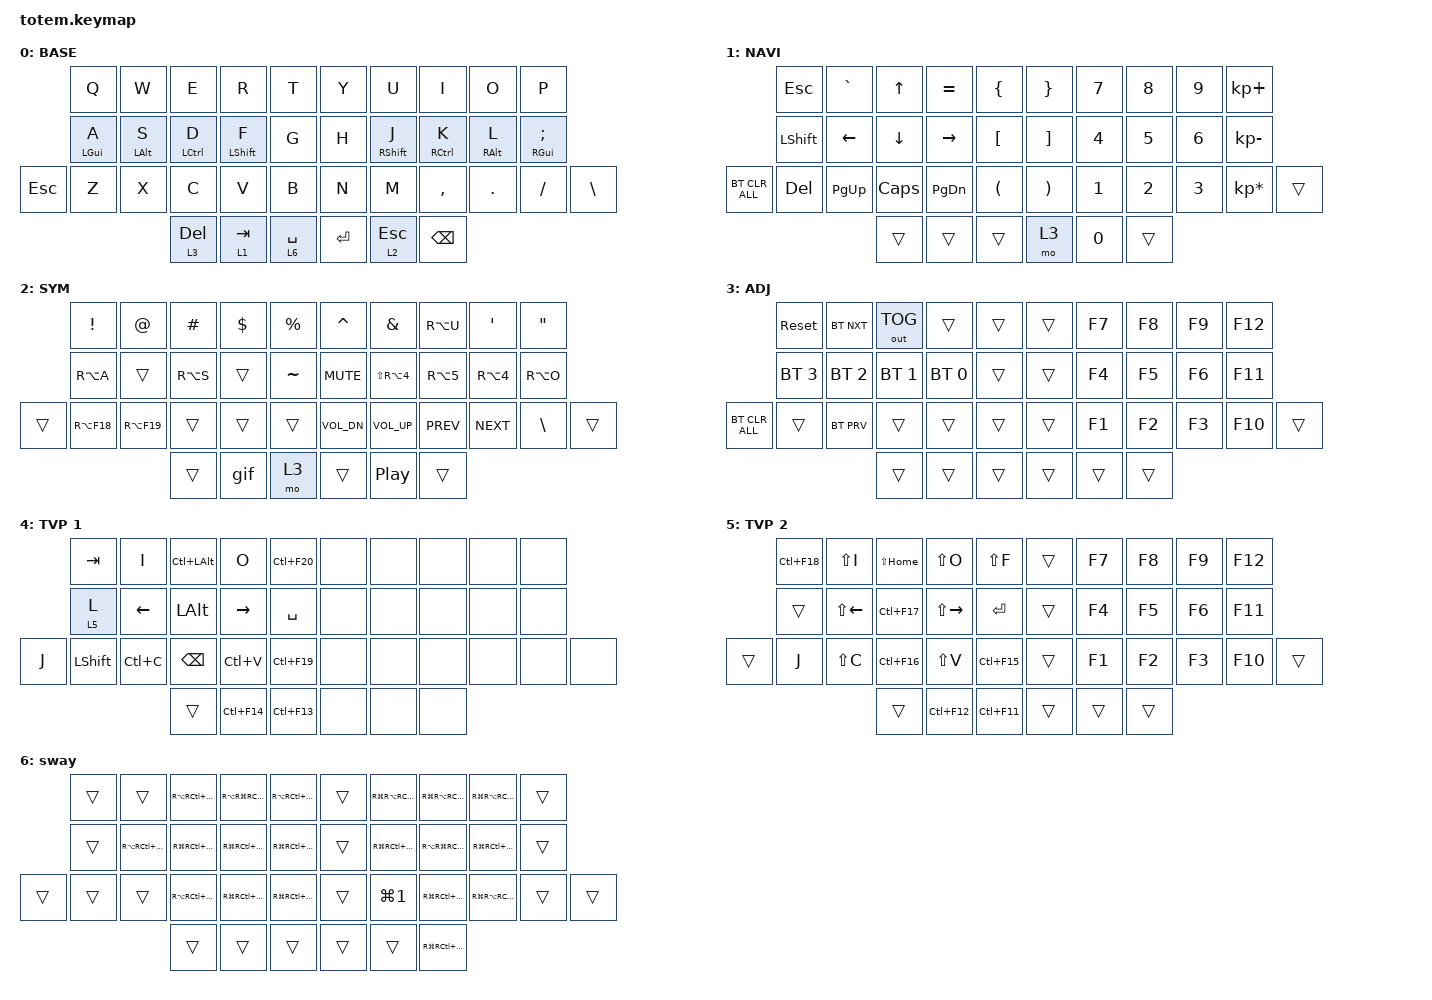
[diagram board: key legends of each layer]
//
//                                                        ▀▀▀▀▀     ▀▀▀▀▀          ▀▀█▀▀
//                                                        ▄▀▀▀▄  ▄  ▄▀▀▀▄  ▄  ▄▀▀▀▄  █  ▄▀▀▀▄
//                                                        █   █  █  █   █  █  █   █  █  █   █
//                                                         ▀▀▀   █   ▀▀▀   █   ▀▀▀   ▀   ▀▀▀
//                                                               █      ▄▄▄█▄▄▄    █   █  
//                                                               ▀      █  █  █     █▄█
//                                                             ▀▀▀▀▀    █  █  █      ▀
//                                                                      ▀  ▀  ▀
//
// ▄▄▄▄▄▄▄▄▄▄▄▄▄▄▄▄▄▄▄▄▄▄▄▄▄▄▄▄▄▄▄▄▄▄▄▄▄▄▄▄▄▄▄▄▄▄▄▄▄▄▄▄▄▄▄▄▄▄▄▄▄▄▄▄▄▄▄▄▄▄▄▄▄▄▄▄▄▄▄▄▄▄▄▄▄▄▄▄▄▄▄▄▄▄▄▄▄▄▄▄▄▄▄▄▄▄▄▄▄▄▄▄▄▄▄▄▄▄▄▄▄▄▄▄▄▄▄▄▄▄▄▄▄▄▄▄▄▄▄▄▄▄▄▄▄▄▄▄▄

#include <behaviors.dtsi>
#include <dt-bindings/zmk/bt.h>
#include <dt-bindings/zmk/keys.h>
#include <dt-bindings/zmk/outputs.h>

#define BASE 0
#define NAV  1
#define SYM  2
#define ADJ  3
#define TVP1 4
#define TVP2 5

&mt {
    quick-tap-ms = <100>;
    global-quick-tap;
    flavor = "tap-preferred";
    tapping-term-ms = <200>;
};

/ {
    combos {
        compatible = "zmk,combos";

        combo_esc {
            timeout-ms = <50>;
            key-positions = <0 1>;
            bindings = <&kp ESC>;
        };

        combo_tvp {
            timeout-ms = <100>;
            key-positions = <11 12 13>;
            bindings = <&tog 4>;
        };
    };

    macros {
        gif: gif {
            label = "giphy";
            compatible = "zmk,behavior-macro";
            #binding-cells = <0>;
            bindings =
                <&macro_press>,
                <&kp LSHFT>,
                <&macro_tap>,
                <&kp N2>,
                <&macro_release>,
                <&kp LSHFT>,
                <&macro_tap>,
                <&kp G &kp I &kp F>;
        };
    };

    keymap {
        compatible = "zmk,keymap";

        // ▄▄▄▄▄▄▄▄▄▄▄▄▄▄▄▄▄▄▄▄▄▄▄▄▄▄▄▄▄▄▄▄▄▄▄▄▄▄▄▄▄▄▄▄▄▄▄▄▄▄▄▄▄▄▄▄▄▄▄▄▄▄▄▄▄▄▄▄▄▄▄▄▄▄▄▄▄▄▄▄▄▄▄▄▄▄▄▄▄▄▄▄▄▄▄▄▄▄▄▄▄▄▄▄▄▄▄▄▄▄▄▄▄▄▄▄▄▄▄▄▄▄▄▄▄▄▄▄▄▄▄▄▄▄▄▄▄▄▄▄▄▄▄▄▄▄▄▄▄

        base_layer {
            // ┏━━━━━━━━━━━━━━━━━━━━━━━━━━━━━━━━━━━━━━━┓

            label = "BASE";

            // ┗━━━━━━━━━━━━━━━━━━━━━━━━━━━━━━━━━━━━━━━┛
            //             ┏━━━━━━━━━━━┳━━━━━━━━━━━┳━━━━━━━━━━━┳━━━━━━━━━━━┳━━━━━━━━━━━┓   ┏━━━━━━━━━━━┳━━━━━━━━━━━┳━━━━━━━━━━━┳━━━━━━━━━━━┳━━━━━━━━━━━┓
            //             ┃     Q     ┃     W     ┃     F     ┃     P     ┃     G     ┃   ┃     J     ┃     L     ┃     U     ┃     Y     ┃     ;     ┃
            //             ┣━━━━━━━━━━━╋━━━━━━━━━━━╋━━━━━━━━━━━╋━━━━━━━━━━━╋━━━━━━━━━━━┫   ┣━━━━━━━━━━━╋━━━━━━━━━━━╋━━━━━━━━━━━╋━━━━━━━━━━━╋━━━━━━━━━━━┫
            //             ┃     A     ┃     R     ┃     S     ┃     T     ┃     D     ┃   ┃     H     ┃     N     ┃     E     ┃     I     ┃     O     ┃
            // ┏━━━━━━━━━━━╋━━━━━━━━━━━╋━━━━━━━━━━━╋━━━━━━━━━━━╋━━━━━━━━━━━╋━━━━━━━━━━━┫   ┣━━━━━━━━━━━╋━━━━━━━━━━━╋━━━━━━━━━━━╋━━━━━━━━━━━╋━━━━━━━━━━━╋━━━━━━━━━━━┓
            // ┃     Q     ┃     Z     ┃     X     ┃     C     ┃     V     ┃     B     ┃   ┃     K     ┃     M     ┃     ,     ┃     .     ┃     /     ┃     \     ┃
            // ┗━━━━━━━━━━━┻━━━━━━━━━━━┻━━━━━━━━━━━╋━━━━━━━━━━━╋━━━━━━━━━━━╋━━━━━━━━━━━┫   ┣━━━━━━━━━━━╋━━━━━━━━━━━╋━━━━━━━━━━━╋━━━━━━━━━━━┻━━━━━━━━━━━┻━━━━━━━━━━━┛
            //                                     ┃    DEL    ┃    TAB    ┃    SPC    ┃   ┃   ENTER   ┃           ┃   BSPC    ┃
            //                                     ┗━━━━━━━━━━━┻━━━━━━━━━━━┻━━━━━━━━━━━┛   ┗━━━━━━━━━━━┻━━━━━━━━━━━┻━━━━━━━━━━━┛

            bindings = <
            &kp Q       &kp W       &kp E        &kp R        &kp T          &kp Y    &kp U        &kp I        &kp O       &kp P
            &mt LGUI A  &mt LALT S  &mt LCTRL D  &mt LSHFT F  &kp G          &kp H    &mt RSHFT J  &mt RCTRL K  &mt RALT L  &mt RGUI SEMI
&kp ESCAPE  &kp Z       &kp X       &kp C        &kp V        &kp B          &kp N    &kp M        &kp COMMA    &kp DOT     &kp FSLH       &kp BSLH
                                    &lt 3 DEL    &lt 1 TAB    &lt 6 SPACE    &kp RET  &lt 2 ESC    &kp BSPC
            >;
        };

        // ▄▄▄▄▄▄▄▄▄▄▄▄▄▄▄▄▄▄▄▄▄▄▄▄▄▄▄▄▄▄▄▄▄▄▄▄▄▄▄▄▄▄▄▄▄▄▄▄▄▄▄▄▄▄▄▄▄▄▄▄▄▄▄▄▄▄▄▄▄▄▄▄▄▄▄▄▄▄▄▄▄▄▄▄▄▄▄▄▄▄▄▄▄▄▄▄▄▄▄▄▄▄▄▄▄▄▄▄▄▄▄▄▄▄▄▄▄▄▄▄▄▄▄▄▄▄▄▄▄▄▄▄▄▄▄▄▄▄▄▄▄▄▄▄▄▄▄▄▄

        nav_layer {
            // ┏━━━━━━━━━━━━━━━━━━━━━━━━━━━━━━━━━━━━━━━┓

            label = "NAVI";

            // ┗━━━━━━━━━━━━━━━━━━━━━━━━━━━━━━━━━━━━━━━┛
            //             ┏━━━━━━━━━━━┳━━━━━━━━━━━┳━━━━━━━━━━━┳━━━━━━━━━━━┳━━━━━━━━━━━┓   ┏━━━━━━━━━━━┳━━━━━━━━━━━┳━━━━━━━━━━━┳━━━━━━━━━━━┳━━━━━━━━━━━┓
            //             ┃           ┃           ┃     UP    ┃           ┃     {     ┃   ┃     }     ┃     7     ┃     8     ┃     9     ┃     +     ┃
            //             ┣━━━━━━━━━━━╋━━━━━━━━━━━╋━━━━━━━━━━━╋━━━━━━━━━━━╋━━━━━━━━━━━┫   ┣━━━━━━━━━━━╋━━━━━━━━━━━╋━━━━━━━━━━━╋━━━━━━━━━━━╋━━━━━━━━━━━┫
            //             ┃   SHIFT   ┃   LEFT    ┃    DOWN   ┃   RIGHT   ┃     [     ┃   ┃     ]     ┃     4     ┃     5     ┃     6     ┃     -     ┃
            // ┏━━━━━━━━━━━╋━━━━━━━━━━━╋━━━━━━━━━━━╋━━━━━━━━━━━╋━━━━━━━━━━━╋━━━━━━━━━━━┫   ┣━━━━━━━━━━━╋━━━━━━━━━━━╋━━━━━━━━━━━╋━━━━━━━━━━━╋━━━━━━━━━━━╋━━━━━━━━━━━┓
            // ┃           ┃           ┃   P UP    ┃  C LOCK   ┃  P DOWN   ┃     (     ┃   ┃     )     ┃     1     ┃     2     ┃     3     ┃     *     ┃           ┃
            // ┗━━━━━━━━━━━┻━━━━━━━━━━━┻━━━━━━━━━━━╋━━━━━━━━━━━╋━━━━━━━━━━━╋━━━━━━━━━━━┫   ┣━━━━━━━━━━━╋━━━━━━━━━━━╋━━━━━━━━━━━╋━━━━━━━━━━━┻━━━━━━━━━━━┻━━━━━━━━━━━┛
            //                                     ┃           ┃    TAB    ┃    SPC    ┃   ┃    DEL    ┃     0     ┃           ┃
            //                                     ┗━━━━━━━━━━━┻━━━━━━━━━━━┻━━━━━━━━━━━┛   ┗━━━━━━━━━━━┻━━━━━━━━━━━┻━━━━━━━━━━━┛

            bindings = <
                &kp ESC    &kp GRAVE  &kp UP    &kp EQUAL  &kp LBRC    &kp RBRC  &kp N7        &kp N8        &kp N9        &kp KP_PLUS
                &kp LSHFT  &kp LEFT   &kp DOWN  &kp RIGHT  &kp LBKT    &kp RBKT  &kp NUMBER_4  &kp N5        &kp NUMBER_6  &kp KP_MINUS
&bt BT_CLR_ALL  &kp DEL    &kp PG_UP  &kp CAPS  &kp PG_DN  &kp LPAR    &kp RPAR  &kp NUMBER_1  &kp NUMBER_2  &kp NUMBER_3  &kp KP_MULTIPLY  &trans
                                      &trans    &trans     &trans      &mo 3     &kp N0        &trans
            >;
        };

        // ▄▄▄▄▄▄▄▄▄▄▄▄▄▄▄▄▄▄▄▄▄▄▄▄▄▄▄▄▄▄▄▄▄▄▄▄▄▄▄▄▄▄▄▄▄▄▄▄▄▄▄▄▄▄▄▄▄▄▄▄▄▄▄▄▄▄▄▄▄▄▄▄▄▄▄▄▄▄▄▄▄▄▄▄▄▄▄▄▄▄▄▄▄▄▄▄▄▄▄▄▄▄▄▄▄▄▄▄▄▄▄▄▄▄▄▄▄▄▄▄▄▄▄▄▄▄▄▄▄▄▄▄▄▄▄▄▄▄▄▄▄▄▄▄▄▄▄▄▄

        sim_layer {
            // ┏━━━━━━━━━━━━━━━━━━━━━━━━━━━━━━━━━━━━━━━┓

            label = "SYM";

            // ┗━━━━━━━━━━━━━━━━━━━━━━━━━━━━━━━━━━━━━━━┛
            //             ┏━━━━━━━━━━━┳━━━━━━━━━━━┳━━━━━━━━━━━┳━━━━━━━━━━━┳━━━━━━━━━━━┓   ┏━━━━━━━━━━━┳━━━━━━━━━━━┳━━━━━━━━━━━┳━━━━━━━━━━━┳━━━━━━━━━━━┓
            //             ┃     !     ┃     @     ┃     #     ┃     $     ┃     %     ┃   ┃     ˆ     ┃     &     ┃     Ü     ┃     '     ┃     "     ┃
            //             ┣━━━━━━━━━━━╋━━━━━━━━━━━╋━━━━━━━━━━━╋━━━━━━━━━━━╋━━━━━━━━━━━┫   ┣━━━━━━━━━━━╋━━━━━━━━━━━╋━━━━━━━━━━━╋━━━━━━━━━━━╋━━━━━━━━━━━┫
            //             ┃     Ä     ┃           ┃    SZ     ┃           ┃           ┃   ┃   MUTE    ┃   YEN     ┃   EURO    ┃  POUND    ┃     Ö     ┃
            // ┏━━━━━━━━━━━╋━━━━━━━━━━━╋━━━━━━━━━━━╋━━━━━━━━━━━╋━━━━━━━━━━━╋━━━━━━━━━━━┫   ┣━━━━━━━━━━━╋━━━━━━━━━━━╋━━━━━━━━━━━╋━━━━━━━━━━━╋━━━━━━━━━━━╋━━━━━━━━━━━┓
            // ┃           ┃  EMAIL1   ┃  EMAIL2   ┃           ┃           ┃           ┃   ┃   VOL-    ┃   VOL+    ┃   LAST    ┃   NEXT    ┃     \     ┃           ┃
            // ┗━━━━━━━━━━━┻━━━━━━━━━━━┻━━━━━━━━━━━╋━━━━━━━━━━━╋━━━━━━━━━━━╋━━━━━━━━━━━┫   ┣━━━━━━━━━━━╋━━━━━━━━━━━╋━━━━━━━━━━━╋━━━━━━━━━━━┻━━━━━━━━━━━┻━━━━━━━━━━━┛
            //                                     ┃           ┃    GIF    ┃    ADJ    ┃   ┃           ┃           ┃           ┃
            //                                     ┗━━━━━━━━━━━┻━━━━━━━━━━━┻━━━━━━━━━━━┛   ┗━━━━━━━━━━━┻━━━━━━━━━━━┻━━━━━━━━━━━┛

            bindings = <
        &kp EXCL     &kp AT       &kp HASH   &kp DLLR  &kp PRCNT    &kp CARET     &kp AMPS        &kp RA(U)   &kp SQT     &kp DQT
        &kp RA(A)    &trans       &kp RA(S)  &trans    &kp TILDE    &kp C_MUTE    &kp LS(RA(N4))  &kp RA(N5)  &kp RA(N4)  &kp RA(O)
&trans  &kp RA(F18)  &kp RA(F19)  &trans     &trans    &trans       &kp C_VOL_DN  &kp C_VOL_UP    &kp C_PREV  &kp C_NEXT  &kp BSLH   &trans
                                  &trans     &gif      &mo 3        &trans        &kp C_PP        &trans
            >;
        };

        // ▄▄▄▄▄▄▄▄▄▄▄▄▄▄▄▄▄▄▄▄▄▄▄▄▄▄▄▄▄▄▄▄▄▄▄▄▄▄▄▄▄▄▄▄▄▄▄▄▄▄▄▄▄▄▄▄▄▄▄▄▄▄▄▄▄▄▄▄▄▄▄▄▄▄▄▄▄▄▄▄▄▄▄▄▄▄▄▄▄▄▄▄▄▄▄▄▄▄▄▄▄▄▄▄▄▄▄▄▄▄▄▄▄▄▄▄▄▄▄▄▄▄▄▄▄▄▄▄▄▄▄▄▄▄▄▄▄▄▄▄▄▄▄▄▄▄▄▄▄

        adjust_layer {
            // ┏━━━━━━━━━━━━━━━━━━━━━━━━━━━━━━━━━━━━━━━┓

            label = "ADJ";

            // ┗━━━━━━━━━━━━━━━━━━━━━━━━━━━━━━━━━━━━━━━┛
            //             ┏━━━━━━━━━━━┳━━━━━━━━━━━┳━━━━━━━━━━━┳━━━━━━━━━━━┳━━━━━━━━━━━┓   ┏━━━━━━━━━━━┳━━━━━━━━━━━┳━━━━━━━━━━━┳━━━━━━━━━━━┳━━━━━━━━━━━┓
            //             ┃   RESET   ┃ BT CLEAR  ┃  OUT TOG  ┃           ┃           ┃   ┃           ┃    F7     ┃    F8     ┃    F9     ┃    F12    ┃
            //             ┣━━━━━━━━━━━╋━━━━━━━━━━━╋━━━━━━━━━━━╋━━━━━━━━━━━╋━━━━━━━━━━━┫   ┣━━━━━━━━━━━╋━━━━━━━━━━━╋━━━━━━━━━━━╋━━━━━━━━━━━╋━━━━━━━━━━━┫
            //             ┃ BOOTLOAD  ┃ BT NEXT   ┃           ┃           ┃           ┃   ┃           ┃    F4     ┃    F5     ┃    F6     ┃    F11    ┃
            // ┏━━━━━━━━━━━╋━━━━━━━━━━━╋━━━━━━━━━━━╋━━━━━━━━━━━╋━━━━━━━━━━━╋━━━━━━━━━━━┫   ┣━━━━━━━━━━━╋━━━━━━━━━━━╋━━━━━━━━━━━╋━━━━━━━━━━━╋━━━━━━━━━━━╋━━━━━━━━━━━┓
            // ┃           ┃           ┃ BT PREV   ┃           ┃           ┃           ┃   ┃           ┃    F1     ┃    F2     ┃    F3     ┃    F10    ┃           ┃
            // ┗━━━━━━━━━━━┻━━━━━━━━━━━┻━━━━━━━━━━━╋━━━━━━━━━━━╋━━━━━━━━━━━╋━━━━━━━━━━━┫   ┣━━━━━━━━━━━╋━━━━━━━━━━━╋━━━━━━━━━━━╋━━━━━━━━━━━┻━━━━━━━━━━━┻━━━━━━━━━━━┛
            //                                     ┃           ┃           ┃           ┃   ┃           ┃           ┃           ┃
            //                                     ┗━━━━━━━━━━━┻━━━━━━━━━━━┻━━━━━━━━━━━┛   ┗━━━━━━━━━━━┻━━━━━━━━━━━┻━━━━━━━━━━━┛

            bindings = <
                &sys_reset    &bt BT_NXT    &out OUT_TOG  &trans        &trans    &trans  &kp F7  &kp F8  &kp F9  &kp F12
                &bt BT_SEL 3  &bt BT_SEL 2  &bt BT_SEL 1  &bt BT_SEL 0  &trans    &trans  &kp F4  &kp F5  &kp F6  &kp F11
&bt BT_CLR_ALL  &trans        &bt BT_PRV    &trans        &trans        &trans    &trans  &kp F1  &kp F2  &kp F3  &kp F10  &trans
                                            &trans        &trans        &trans    &trans  &trans  &trans
            >;
        };

        // ▄▄▄▄▄▄▄▄▄▄▄▄▄▄▄▄▄▄▄▄▄▄▄▄▄▄▄▄▄▄▄▄▄▄▄▄▄▄▄▄▄▄▄▄▄▄▄▄▄▄▄▄▄▄▄▄▄▄▄▄▄▄▄▄▄▄▄▄▄▄▄▄▄▄▄▄▄▄▄▄▄▄▄▄▄▄▄▄▄▄▄▄▄▄▄▄▄▄▄▄▄▄▄▄▄▄▄▄▄▄▄▄▄▄▄▄▄▄▄▄▄▄▄▄▄▄▄▄▄▄▄▄▄▄▄▄▄▄▄▄▄▄▄▄▄▄▄▄▄

        tvp1_layer {
            // ┏━━━━━━━━━━━━━━━━━━━━━━━━━━━━━━━━━━━━━━━┓

            label = "TVP 1";

            // ┗━━━━━━━━━━━━━━━━━━━━━━━━━━━━━━━━━━━━━━━┛
            //             ┏━━━━━━━━━━━┳━━━━━━━━━━━┳━━━━━━━━━━━┳━━━━━━━━━━━┳━━━━━━━━━━━┓   ┏━━━━━━━━━━━┳━━━━━━━━━━━┳━━━━━━━━━━━┳━━━━━━━━━━━┳━━━━━━━━━━━┓
            //             ┃ NEXT FILE ┃ MARK IN   ┃ ROTATE    ┃ MARK OUT  ┃ SHOW SNAP ┃   ┃           ┃           ┃           ┃           ┃           ┃
            //             ┣━━━━━━━━━━━╋━━━━━━━━━━━╋━━━━━━━━━━━╋━━━━━━━━━━━╋━━━━━━━━━━━┫   ┣━━━━━━━━━━━╋━━━━━━━━━━━╋━━━━━━━━━━━╋━━━━━━━━━━━╋━━━━━━━━━━━┫
            //             ┃ TVP II    ┃ LEFT      ┃ PAN       ┃ RIGHT     ┃ PLAY/FLIP ┃   ┃           ┃           ┃           ┃           ┃           ┃
            // ┏━━━━━━━━━━━╋━━━━━━━━━━━╋━━━━━━━━━━━╋━━━━━━━━━━━╋━━━━━━━━━━━╋━━━━━━━━━━━┫   ┣━━━━━━━━━━━╋━━━━━━━━━━━╋━━━━━━━━━━━╋━━━━━━━━━━━╋━━━━━━━━━━━╋━━━━━━━━━━━┓
            // ┃ FULLSCR   ┃ SHIFT     ┃ COPY      ┃ DELETE    ┃ PASTE     ┃ IMG MARK  ┃   ┃           ┃           ┃           ┃           ┃           ┃           ┃
            // ┗━━━━━━━━━━━┻━━━━━━━━━━━┻━━━━━━━━━━━╋━━━━━━━━━━━╋━━━━━━━━━━━╋━━━━━━━━━━━┫   ┣━━━━━━━━━━━╋━━━━━━━━━━━╋━━━━━━━━━━━╋━━━━━━━━━━━┻━━━━━━━━━━━┻━━━━━━━━━━━┛
            //                                     ┃           ┃ UNDO/SAVE ┃  SEL/MOV  ┃   ┃           ┃           ┃           ┃
            //                                     ┗━━━━━━━━━━━┻━━━━━━━━━━━┻━━━━━━━━━━━┛   ┗━━━━━━━━━━━┻━━━━━━━━━━━┻━━━━━━━━━━━┛

            bindings = <
       &kp TAB    &kp I      &kp LC(LALT)  &kp O        &kp LC(F20)    &none  &none  &none  &none  &none
       &lt 5 L    &kp LEFT   &kp LALT      &kp RIGHT    &kp SPACE      &none  &none  &none  &none  &none
&kp J  &kp LSHFT  &kp LC(C)  &kp BSPC      &kp LC(V)    &kp LC(F19)    &none  &none  &none  &none  &none  &none
                             &trans        &kp LC(F14)  &kp LC(F13)    &none  &none  &none
            >;
        };

        // ▄▄▄▄▄▄▄▄▄▄▄▄▄▄▄▄▄▄▄▄▄▄▄▄▄▄▄▄▄▄▄▄▄▄▄▄▄▄▄▄▄▄▄▄▄▄▄▄▄▄▄▄▄▄▄▄▄▄▄▄▄▄▄▄▄▄▄▄▄▄▄▄▄▄▄▄▄▄▄▄▄▄▄▄▄▄▄▄▄▄▄▄▄▄▄▄▄▄▄▄▄▄▄▄▄▄▄▄▄▄▄▄▄▄▄▄▄▄▄▄▄▄▄▄▄▄▄▄▄▄▄▄▄▄▄▄▄▄▄▄▄▄▄▄▄▄▄▄▄

        tvp2_layer {
            // ┏━━━━━━━━━━━━━━━━━━━━━━━━━━━━━━━━━━━━━━━┓

            label = "TVP 2";

            // ┗━━━━━━━━━━━━━━━━━━━━━━━━━━━━━━━━━━━━━━━┛
            //             ┏━━━━━━━━━━━┳━━━━━━━━━━━┳━━━━━━━━━━━┳━━━━━━━━━━━┳━━━━━━━━━━━┓   ┏━━━━━━━━━━━┳━━━━━━━━━━━┳━━━━━━━━━━━┳━━━━━━━━━━━┳━━━━━━━━━━━┓
            //             ┃ SOLO      ┃ TOGGLE IN ┃ RESET ROT ┃ TOGGLE OUT┃ TAKE SNAP ┃   ┃           ┃           ┃           ┃           ┃           ┃
            //             ┣━━━━━━━━━━━╋━━━━━━━━━━━╋━━━━━━━━━━━╋━━━━━━━━━━━╋━━━━━━━━━━━┫   ┣━━━━━━━━━━━╋━━━━━━━━━━━╋━━━━━━━━━━━╋━━━━━━━━━━━╋━━━━━━━━━━━┫
            //             ┃ ---       ┃ LAST KEY  ┃ NEW KEY   ┃ NEXT KEY  ┃ ENTER     ┃   ┃           ┃           ┃           ┃           ┃           ┃
            // ┏━━━━━━━━━━━╋━━━━━━━━━━━╋━━━━━━━━━━━╋━━━━━━━━━━━╋━━━━━━━━━━━╋━━━━━━━━━━━┫   ┣━━━━━━━━━━━╋━━━━━━━━━━━╋━━━━━━━━━━━╋━━━━━━━━━━━╋━━━━━━━━━━━╋━━━━━━━━━━━┓
            // ┃           ┃ FULLSCR   ┃ CPY2BRUSH ┃ DEL HEAD  ┃ PSTinPLACE┃ BOOK MARK ┃   ┃           ┃           ┃           ┃           ┃           ┃           ┃
            // ┗━━━━━━━━━━━┻━━━━━━━━━━━┻━━━━━━━━━━━╋━━━━━━━━━━━╋━━━━━━━━━━━╋━━━━━━━━━━━┫   ┣━━━━━━━━━━━╋━━━━━━━━━━━╋━━━━━━━━━━━╋━━━━━━━━━━━┻━━━━━━━━━━━┻━━━━━━━━━━━┛
            //                                     ┃           ┃ REDO/SAV1 ┃TRANS/WARP ┃   ┃           ┃           ┃           ┃
            //                                     ┗━━━━━━━━━━━┻━━━━━━━━━━━┻━━━━━━━━━━━┛   ┗━━━━━━━━━━━┻━━━━━━━━━━━┻━━━━━━━━━━━┛

            bindings = <
        &kp LC(F18)  &kp LS(I)     &kp LS(HOME)  &kp LS(O)      &kp LS(F)      &trans  &kp F7  &kp F8  &kp F9  &kp F12
        &trans       &kp LS(LEFT)  &kp LC(F17)   &kp LS(RIGHT)  &kp RET        &trans  &kp F4  &kp F5  &kp F6  &kp F11
&trans  &kp J        &kp LS(C)     &kp LC(F16)   &kp LS(V)      &kp LC(F15)    &trans  &kp F1  &kp F2  &kp F3  &kp F10  &trans
                                   &trans        &kp LC(F12)    &kp LC(F11)    &trans  &trans  &trans
            >;
        };

        sway {
            bindings = <
        &trans  &trans             &kp RA(RC(RG(E)))  &kp RA(RG(RC(R)))  &kp RA(RC(RG(T)))    &trans  &kp RG(RA(RC(N7)))  &kp RG(RA(RC(N8)))  &kp RG(RA(RC(N9)))  &trans
        &trans  &kp RA(RC(RG(S)))  &kp RG(RC(RA(D)))  &kp RG(RC(RA(F)))  &kp RG(RC(RA(G)))    &trans  &kp RG(RC(RA(N4)))  &kp RA(RG(RC(N5)))  &kp RG(RC(RA(N6)))  &trans
&trans  &trans  &trans             &kp RA(RC(RG(C)))  &kp RG(RC(RA(V)))  &kp RG(RC(RA(B)))    &trans  &kp LG(NUMBER_1)    &kp RG(RC(RA(N2)))  &kp RG(RA(RC(N3)))  &trans  &trans
                                   &trans             &trans             &trans               &trans  &trans              &kp RG(RC(RA(N0)))
            >;
        };
    };
};
